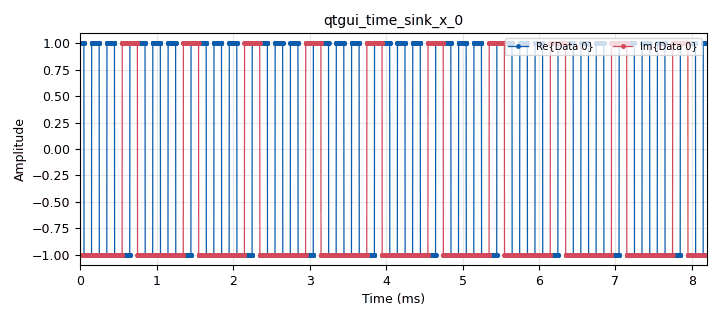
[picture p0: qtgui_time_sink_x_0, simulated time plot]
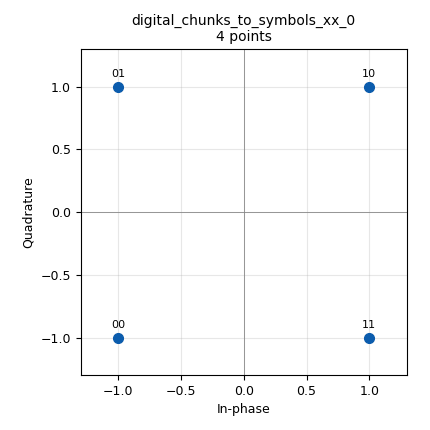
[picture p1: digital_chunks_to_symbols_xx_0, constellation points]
options:
  parameters:
    generate_options: qt_gui
    id: QPSK_TX
    output_language: python
    title: QPSK_TX
  states: {}

blocks:
- name: center_freq
  id: variable
  parameters:
    value: 915e6
  states: {}
- name: freq
  id: variable_qtgui_range
  parameters:
    start: '915000000'
    step: '1'
    stop: '915020000'
    value: '915014100'
  states: {}
- name: samp_rate
  id: variable
  parameters:
    value: 1e6
  states: {}
- name: sps
  id: variable
  parameters:
    value: '100'
  states: {}
- name: symbols
  id: variable
  parameters:
    value: '[0.4, 0.8, 1.2, 1.6]'
  states: {state: disabled}
- name: symbols
  id: variable
  parameters:
    value: '[1,1j, -1, -1j]'
  states: {state: disabled}
- name: symbols
  id: variable
  parameters:
    comment: |-
      need diagonals to use
      Constellation Decoder
    value: '[-1-1j, -1+1j, 1+1j, 1-1j]'
  states: {}
- name: tx_gain
  id: variable_qtgui_range
  parameters:
    label: TX GAIN
    start: '10'
    step: '1'
    stop: '47'
    value: '20'
  states: {}
- name: analog_random_uniform_source_x_0
  id: analog_random_uniform_source_x
  parameters:
    maximum: '4'
    minimum: '0'
    seed: '0'
    type: byte
  states: {state: disabled}
- name: blocks_repeat_0
  id: blocks_repeat
  parameters:
    interp: sps
    type: complex
  states: {}
- name: blocks_vector_source_x_0
  id: blocks_vector_source_x
  parameters:
    repeat: 'True'
    type: byte
    vector: '[0,1,2,3,0,3,0,3]'
  states: {}
- name: digital_chunks_to_symbols_xx_0
  id: digital_chunks_to_symbols_xx
  parameters:
    dimension: '1'
    in_type: byte
    out_type: complex
    symbol_table: symbols
  states: {}
- name: osmosdr_sink_0
  id: osmosdr_sink
  parameters:
    bb_gain0: '20'
    freq0: freq
    gain0: '20'
    if_gain0: tx_gain
    sample_rate: samp_rate*8
    sync: sync
    type: fc32
  states: {}
- name: qtgui_time_sink_x_0
  id: qtgui_time_sink_x
  parameters:
    autoscale: 'True'
    marker1: '0'
    marker2: '0'
    size: 1024*8
    srate: samp_rate
    type: complex
  states: {}

connections:
- [analog_random_uniform_source_x_0, '0', digital_chunks_to_symbols_xx_0, '0']
- [blocks_repeat_0, '0', osmosdr_sink_0, '0']
- [blocks_repeat_0, '0', qtgui_time_sink_x_0, '0']
- [blocks_vector_source_x_0, '0', digital_chunks_to_symbols_xx_0, '0']
- [digital_chunks_to_symbols_xx_0, '0', blocks_repeat_0, '0']

metadata:
  file_format: 1
  grc_version: 3.10.9.2
